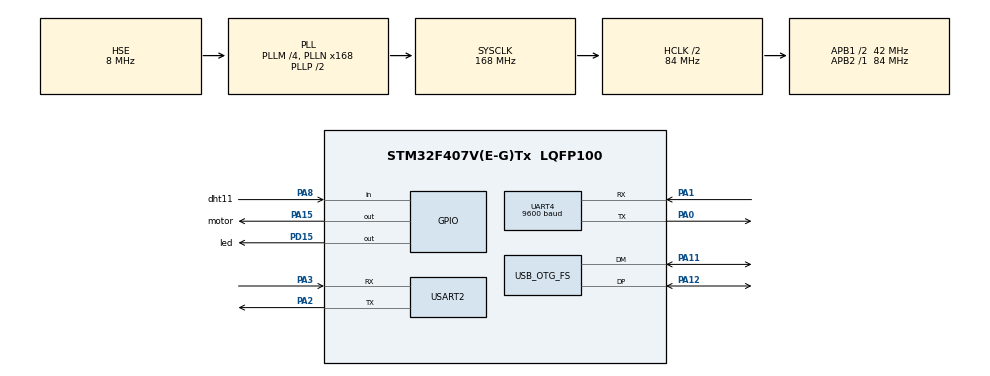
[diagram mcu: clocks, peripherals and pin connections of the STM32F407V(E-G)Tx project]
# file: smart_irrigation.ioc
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Dma.Request0=USART2_RX
Dma.Request1=USART2_TX
Dma.Request2=UART4_RX
Dma.Request3=UART4_TX
Dma.UART4_RX.2.Direction=DMA_PERIPH_TO_MEMORY
Dma.UART4_RX.2.FIFOMode=DMA_FIFOMODE_DISABLE
Dma.UART4_RX.2.Instance=DMA1_Stream2
Dma.UART4_RX.2.MemDataAlignment=DMA_MDATAALIGN_BYTE
Dma.UART4_RX.2.MemInc=DMA_MINC_ENABLE
Dma.UART4_RX.2.Mode=DMA_CIRCULAR
Dma.UART4_RX.2.PeriphDataAlignment=DMA_PDATAALIGN_BYTE
Dma.UART4_RX.2.PeriphInc=DMA_PINC_DISABLE
Dma.UART4_RX.2.Priority=DMA_PRIORITY_LOW
Dma.UART4_TX.3.Direction=DMA_MEMORY_TO_PERIPH
Dma.UART4_TX.3.FIFOMode=DMA_FIFOMODE_DISABLE
Dma.UART4_TX.3.Instance=DMA1_Stream4
Dma.UART4_TX.3.MemDataAlignment=DMA_MDATAALIGN_BYTE
Dma.UART4_TX.3.MemInc=DMA_MINC_ENABLE
Dma.UART4_TX.3.Mode=DMA_NORMAL
Dma.UART4_TX.3.PeriphDataAlignment=DMA_PDATAALIGN_BYTE
Dma.UART4_TX.3.PeriphInc=DMA_PINC_DISABLE
Dma.UART4_TX.3.Priority=DMA_PRIORITY_LOW
Dma.USART2_RX.0.Direction=DMA_PERIPH_TO_MEMORY
Dma.USART2_RX.0.FIFOMode=DMA_FIFOMODE_DISABLE
Dma.USART2_RX.0.Instance=DMA1_Stream5
Dma.USART2_RX.0.MemDataAlignment=DMA_MDATAALIGN_BYTE
Dma.USART2_RX.0.MemInc=DMA_MINC_ENABLE
Dma.USART2_RX.0.Mode=DMA_CIRCULAR
Dma.USART2_RX.0.PeriphDataAlignment=DMA_PDATAALIGN_BYTE
Dma.USART2_RX.0.PeriphInc=DMA_PINC_DISABLE
Dma.USART2_RX.0.Priority=DMA_PRIORITY_LOW
Dma.USART2_TX.1.Direction=DMA_MEMORY_TO_PERIPH
Dma.USART2_TX.1.FIFOMode=DMA_FIFOMODE_DISABLE
Dma.USART2_TX.1.Instance=DMA1_Stream6
Dma.USART2_TX.1.MemDataAlignment=DMA_MDATAALIGN_BYTE
Dma.USART2_TX.1.MemInc=DMA_MINC_ENABLE
Dma.USART2_TX.1.Mode=DMA_NORMAL
Dma.USART2_TX.1.PeriphDataAlignment=DMA_PDATAALIGN_BYTE
Dma.USART2_TX.1.PeriphInc=DMA_PINC_DISABLE
Dma.USART2_TX.1.Priority=DMA_PRIORITY_LOW
Mcu.Family=STM32F4
Mcu.Name=STM32F407V(E-G)Tx
Mcu.Package=LQFP100
NVIC.DMA1_Stream2_IRQn=true\:0\:0\:false\:false\:true\:false\:true\:true
NVIC.DMA1_Stream4_IRQn=true\:0\:0\:false\:false\:true\:false\:true\:true
NVIC.DMA1_Stream5_IRQn=true\:0\:0\:false\:false\:true\:false\:true\:true
NVIC.DMA1_Stream6_IRQn=true\:0\:0\:false\:false\:true\:false\:true\:true
NVIC.OTG_FS_IRQn=true\:0\:0\:false\:false\:true\:false\:true\:true
NVIC.PriorityGroup=NVIC_PRIORITYGROUP_4
PA0-WKUP.Mode=Asynchronous
PA0-WKUP.Signal=UART4_TX
PA1.GPIO_PuPd=GPIO_PULLUP
PA1.Mode=Asynchronous
PA1.Signal=UART4_RX
PA11.Mode=Device_Only
PA11.Signal=USB_OTG_FS_DM
PA12.Mode=Device_Only
PA12.Signal=USB_OTG_FS_DP
PA15.GPIO_Label=motor
PA15.Signal=GPIO_Output
PA2.Mode=Asynchronous
PA2.Signal=USART2_TX
PA3.GPIO_PuPd=GPIO_PULLUP
PA3.Mode=Asynchronous
PA3.Signal=USART2_RX
PA8.GPIO_Label=dht11
PA8.Signal=GPIO_Input
PD15.GPIO_Label=led
PD15.Signal=GPIO_Output
PH0-OSC_IN.Mode=HSE-External-Oscillator
PH0-OSC_IN.Signal=RCC_OSC_IN
PH1-OSC_OUT.Mode=HSE-External-Oscillator
PH1-OSC_OUT.Signal=RCC_OSC_OUT
ProjectManager.HeapSize=0x200
ProjectManager.StackSize=0x400
ProjectManager.TargetToolchain=STM32CubeIDE
RCC.48MHZClocksFreq_Value=48000000
RCC.AHBCLKDivider=RCC_SYSCLK_DIV2
RCC.AHBFreq_Value=84000000
RCC.APB1CLKDivider=RCC_HCLK_DIV2
RCC.APB1Freq_Value=42000000
RCC.APB1TimFreq_Value=84000000
RCC.APB2Freq_Value=84000000
RCC.APB2TimFreq_Value=84000000
RCC.CortexFreq_Value=84000000
RCC.HCLKFreq_Value=84000000
RCC.HSE_VALUE=8000000
RCC.HSI_VALUE=16000000
RCC.LSE_VALUE=32768
RCC.PLLM=4
RCC.PLLN=168
RCC.PLLQ=7
RCC.SYSCLKFreq_VALUE=168000000
RCC.SYSCLKSource=RCC_SYSCLKSOURCE_PLLCLK
RCC.VCOOutputFreq_Value=336000000
TIM6.Prescaler=83
UART4.BaudRate=9600
UART4.VirtualMode=Asynchronous
USART2.VirtualMode=VM_ASYNC
USB_DEVICE.CLASS_NAME_FS=CDC
USB_DEVICE.VirtualMode-CDC_FS=Cdc
USB_DEVICE.VirtualModeFS=Cdc_FS
USB_OTG_FS.VirtualMode=Device_Only
VP_TIM6_VS_ClockSourceINT.Mode=Enable_Timer
VP_USB_DEVICE_VS_USB_DEVICE_CDC_FS.Mode=CDC_FS
board=custom

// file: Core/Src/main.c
/* USER CODE BEGIN Header */
/**
  ******************************************************************************
  * @file           : main.c
  * @brief          : Main program body
  ******************************************************************************
  * @attention
  *
  * Copyright (c) 2025 STMicroelectronics.
  * All rights reserved.
  *
  * This software is licensed under terms that can be found in the LICENSE file
  * in the root directory of this software component.
  * If no LICENSE file comes with this software, it is provided AS-IS.
  *
  ******************************************************************************
  */
/* USER CODE END Header */
#include "main.h"
#include "usb_device.h"

/* USER CODE BEGIN Includes */
#include "dht11.h"
#include "motor.h"
#include "usbd_cdc_if.h"
#include "esp8266.h"
#include "sim800l.h"  // SMS module for temperature alerts
/* USER CODE END Includes */

/* USER CODE BEGIN PD */
/* WiFi Configuration */
#define WIFI_SSID                   "YOUR_WIFI_SSID"
#define WIFI_PASSWORD               "YOUR_WIFI_PASSWORD"

/* MQTT Configuration */
#define MQTT_BROKER_IP              "YOUR_MQTT_BROKER_IP"
#define MQTT_BROKER_PORT            1883
#define MQTT_CLIENT_ID              "STM32_Irrigation_System"

/* MQTT Topics */
#define MQTT_TOPIC_SENSOR_DATA      "irrigation/sensor_data"
#define MQTT_TOPIC_MOTOR_STATUS     "irrigation/motor_status"
#define MQTT_TOPIC_MODE_STATUS      "irrigation/mode_status"
#define MQTT_TOPIC_SYSTEM_STATUS    "irrigation/system_status"
#define MQTT_TOPIC_MODE_CONTROL     "irrigation/mode"
#define MQTT_TOPIC_MOTOR_CONTROL    "irrigation/motor"
#define MQTT_TOPIC_STATUS_REQUEST   "irrigation/status_request"
#define MQTT_TOPIC_SMS_ALERT        "irrigation/sms_alert"

/* System Configuration */
#define TEMPERATURE_THRESHOLD       33.0f
#define HUMIDITY_THRESHOLD_LOW      50.0f  // Turn motor ON when humidity <= 50%
#define HUMIDITY_THRESHOLD_HIGH     80.0f  // Turn motor OFF when humidity >= 80%
#define DATA_PUBLISH_INTERVAL       2000   // 2 seconds in milliseconds

/* SMS Configuration */
#define SMS_PHONE_NUMBER            "+YOUR_PHONE_NUMBER"  // Replace with your phone number
#define SMS_COOLDOWN_TIME           300000  // 5 minutes in milliseconds (prevent spam)

/* USER CODE END PD */

TIM_HandleTypeDef htim6;

UART_HandleTypeDef huart4;
UART_HandleTypeDef huart2;
DMA_HandleTypeDef hdma_uart4_rx;
DMA_HandleTypeDef hdma_uart4_tx;
DMA_HandleTypeDef hdma_usart2_rx;
DMA_HandleTypeDef hdma_usart2_tx;

/* USER CODE BEGIN PV */
// Operation modes
typedef enum {
    MODE_AUTO = 0,
    MODE_MANUAL = 1
} SystemMode_t;

// System state variables
static SystemMode_t system_mode = MODE_AUTO;
static bool motor_manual_state = false;
static bool mqtt_connected = false;
static bool sim800l_initialized = false;

// Timing variables
static uint32_t last_publish_time = 0;
static uint32_t last_sms_time = 0;
static bool publish_data_flag = false;
static bool temperature_alert_sent = false;

// Temperature tracking for reliable alert detection
static float last_valid_temperature = 0.0f;
static uint32_t high_temp_start_time = 0;
static bool high_temp_detected = false;

/* USER CODE END PV */

void SystemClock_Config(void);
static void MX_GPIO_Init(void);
static void MX_DMA_Init(void);
static void MX_TIM6_Init(void);
static void MX_USART2_UART_Init(void);
static void MX_UART4_Init(void);

/* USER CODE BEGIN 0 */
static char status_message[100];
static bool status_update_pending = false;  // Flag for deferred status updates

// Function prototypes
void PublishSensorData(float temperature, float humidity);
void PublishMotorStatus(const char* status);
void PublishModeStatus(const char* mode);
void PublishSystemStatus(float temperature, float humidity, const char* motor_status, const char* mode);
void HandleAutoMode(float temperature, float humidity);
void HandleManualMode(void);
void CheckTemperatureAlert(float temperature);

/* USER CODE END 0 */

int main(void)
{

  /* MCU Configuration--------------------------------------------------------*/

  /* Reset of all peripherals, Initializes the Flash interface and the Systick. */
  HAL_Init();

  /* Configure the system clock */
  SystemClock_Config();

  /* Initialize all configured peripherals */
  MX_GPIO_Init();
  MX_DMA_Init();
  MX_USB_DEVICE_Init();
  MX_TIM6_Init();
  MX_USART2_UART_Init();
  MX_UART4_Init();
  /* USER CODE BEGIN 2 */
  DHT11_Data_t dht11_data;
  DHT11_Init(&htim6, dht11_GPIO_Port, dht11_Pin);
  float temperature = 0.0f;
  float humidity = 0.0f;
  Motor_Init();

  // Initialize SIM800L GSM module with UART4
  if (SIM800L_Init(&huart4) == SIM800L_OK) {
    sim800l_initialized = true;

    // Send initialization SMS
    char init_sms[160];
    snprintf(init_sms, sizeof(init_sms), "Smart Irrigation System Initialized. SIM800L connected. Phone: %s", SMS_PHONE_NUMBER);
    SIM800L_SendSMS(SMS_PHONE_NUMBER, init_sms);

    // Send message via USB CDC
    char init_msg[] = "SIM800L GSM Module Initialized - Temperature alerts enabled\r\n";
    CDC_Transmit_FS((uint8_t*)init_msg, strlen(init_msg));
  } else {
    char error_msg[] = "SIM800L Initialization Failed\r\n";
    CDC_Transmit_FS((uint8_t*)error_msg, strlen(error_msg));
  }

  // Initialize ESP8266 WiFi module with UART2
  if (ESP8266_Init(&huart2) == ESP8266_OK) {
    // Connect to WiFi
    if (ESP8266_ConnectWiFi(WIFI_SSID, WIFI_PASSWORD) == ESP8266_OK) {
        // Connect to MQTT broker
        if (ESP8266_ConnectMQTT(MQTT_BROKER_IP, MQTT_BROKER_PORT, MQTT_CLIENT_ID) == ESP8266_OK) {
          mqtt_connected = true;

          // Subscribe to control topics
          ESP8266_SubscribeMQTT(MQTT_TOPIC_MODE_CONTROL);
          ESP8266_SubscribeMQTT(MQTT_TOPIC_MOTOR_CONTROL);
          ESP8266_SubscribeMQTT(MQTT_TOPIC_STATUS_REQUEST);

          // Publish initial status
          PublishSystemStatus(0.0f, 0.0f, "OFF", "AUTO");

          // Send connection message via USB CDC
          char init_msg[] = "Smart Irrigation System Initialized - Connected to MQTT\r\n";
          CDC_Transmit_FS((uint8_t*)init_msg, strlen(init_msg));
        }
    }
  }

  // Initialize timing
  last_publish_time = HAL_GetTick();
  last_sms_time = 0;  // Allow immediate first SMS alert
  temperature_alert_sent = false;
  high_temp_detected = false;

  /* USER CODE END 2 */

  /* Infinite loop */
  while (1)
  {

    /* USER CODE BEGIN 3 */
    uint32_t current_time = HAL_GetTick();

    // Check if it's time to read sensor and publish data (every 2 seconds)
    if (current_time - last_publish_time >= DATA_PUBLISH_INTERVAL) {
        publish_data_flag = true;
        last_publish_time = current_time;
    }

    // Read DHT11 sensor data and publish every 2 seconds
    if (publish_data_flag) {
        DHT11_Status_t dht_status = DHT11_ReadData(&dht11_data);
        char buffer[150];

        if (dht_status == DHT11_OK) {
            temperature = DHT11_GetTemperature(&dht11_data);
            humidity = DHT11_GetHumidity(&dht11_data);
            last_valid_temperature = temperature;  // Store for alert system

            snprintf(buffer, sizeof(buffer), "Temp: %.1f°C, Hum: %.1f%% | Mode: %s | Motor: %s\r\n",
                     temperature, humidity,
                     (system_mode == MODE_AUTO) ? "AUTO" : "MANUAL",
                     (Motor_GetState() == MOTOR_FORWARD) ? "ON" : "OFF");

            // Publish sensor data to MQTT
            if (mqtt_connected) {
                PublishSensorData(temperature, humidity);
            }
        } else {
            snprintf(buffer, sizeof(buffer), "DHT11 Error: %s | Mode: %s | Motor: %s\r\n",
                     (dht_status == DHT11_ERROR_CHECKSUM) ? "Checksum Error" : "No Response",
                     (system_mode == MODE_AUTO) ? "AUTO" : "MANUAL",
                     (Motor_GetState() == MOTOR_FORWARD) ? "ON" : "OFF");
        }
        CDC_Transmit_FS((uint8_t*)buffer, strlen(buffer));

        publish_data_flag = false;
    }

    // Control logic based on current mode
    if (system_mode == MODE_AUTO) {
        HandleAutoMode(temperature, humidity);
    } else {
        HandleManualMode();
    }

    // Check for temperature alerts (STM32 handles SMS, dashboard shows notifications)
    CheckTemperatureAlert(last_valid_temperature);

    // Process ESP8266 MQTT data
    ESP8266_ProcessDMAData();

    // Process SIM800L data
    if (sim800l_initialized) {
        SIM800L_ProcessDMAData();
    }

    // Handle deferred status updates (avoid sending from interrupt context)
    if (status_update_pending) {
        status_update_pending = false;
        const char* motor_status = (Motor_GetState() == MOTOR_FORWARD) ? "ON" : "OFF";
        const char* mode_status = (system_mode == MODE_AUTO) ? "AUTO" : "MANUAL";
        PublishSystemStatus(temperature, humidity, motor_status, mode_status);
    }
  }
  /* USER CODE END 3 */
}

void SystemClock_Config(void)
{
  RCC_OscInitTypeDef RCC_OscInitStruct = {0};
  RCC_ClkInitTypeDef RCC_ClkInitStruct = {0};

  /** Configure the main internal regulator output voltage
  */
  __HAL_RCC_PWR_CLK_ENABLE();
  __HAL_PWR_VOLTAGESCALING_CONFIG(PWR_REGULATOR_VOLTAGE_SCALE1);

  /** Initializes the RCC Oscillators according to the specified parameters
  * in the RCC_OscInitTypeDef structure.
  */
  RCC_OscInitStruct.OscillatorType = RCC_OSCILLATORTYPE_HSE;
  RCC_OscInitStruct.HSEState = RCC_HSE_ON;
  RCC_OscInitStruct.PLL.PLLState = RCC_PLL_ON;
  RCC_OscInitStruct.PLL.PLLSource = RCC_PLLSOURCE_HSE;
  RCC_OscInitStruct.PLL.PLLM = 4;
  RCC_OscInitStruct.PLL.PLLN = 168;
  RCC_OscInitStruct.PLL.PLLP = RCC_PLLP_DIV2;
  RCC_OscInitStruct.PLL.PLLQ = 7;
  if (HAL_RCC_OscConfig(&RCC_OscInitStruct) != HAL_OK)
  {
    Error_Handler();
  }

  /** Initializes the CPU, AHB and APB buses clocks
  */
  RCC_ClkInitStruct.ClockType = RCC_CLOCKTYPE_HCLK|RCC_CLOCKTYPE_SYSCLK
                              |RCC_CLOCKTYPE_PCLK1|RCC_CLOCKTYPE_PCLK2;
  RCC_ClkInitStruct.SYSCLKSource = RCC_SYSCLKSOURCE_PLLCLK;
  RCC_ClkInitStruct.AHBCLKDivider = RCC_SYSCLK_DIV2;
  RCC_ClkInitStruct.APB1CLKDivider = RCC_HCLK_DIV2;
  RCC_ClkInitStruct.APB2CLKDivider = RCC_HCLK_DIV1;

  if (HAL_RCC_ClockConfig(&RCC_ClkInitStruct, FLASH_LATENCY_2) != HAL_OK)
  {
    Error_Handler();
  }
}

static void MX_TIM6_Init(void)
{

  TIM_MasterConfigTypeDef sMasterConfig = {0};

  htim6.Instance = TIM6;
  htim6.Init.Prescaler = 83;
  htim6.Init.CounterMode = TIM_COUNTERMODE_UP;
  htim6.Init.Period = 65535;
  htim6.Init.AutoReloadPreload = TIM_AUTORELOAD_PRELOAD_DISABLE;
  if (HAL_TIM_Base_Init(&htim6) != HAL_OK)
  {
    Error_Handler();
  }
  sMasterConfig.MasterOutputTrigger = TIM_TRGO_RESET;
  sMasterConfig.MasterSlaveMode = TIM_MASTERSLAVEMODE_DISABLE;
  if (HAL_TIMEx_MasterConfigSynchronization(&htim6, &sMasterConfig) != HAL_OK)
  {
    Error_Handler();
  }

}

static void MX_UART4_Init(void)
{

  huart4.Instance = UART4;
  huart4.Init.BaudRate = 9600;
  huart4.Init.WordLength = UART_WORDLENGTH_8B;
  huart4.Init.StopBits = UART_STOPBITS_1;
  huart4.Init.Parity = UART_PARITY_NONE;
  huart4.Init.Mode = UART_MODE_TX_RX;
  huart4.Init.HwFlowCtl = UART_HWCONTROL_NONE;
  huart4.Init.OverSampling = UART_OVERSAMPLING_16;
  if (HAL_UART_Init(&huart4) != HAL_OK)
  {
    Error_Handler();
  }

}

static void MX_USART2_UART_Init(void)
{

  huart2.Instance = USART2;
  huart2.Init.BaudRate = 115200;
  huart2.Init.WordLength = UART_WORDLENGTH_8B;
  huart2.Init.StopBits = UART_STOPBITS_1;
  huart2.Init.Parity = UART_PARITY_NONE;
  huart2.Init.Mode = UART_MODE_TX_RX;
  huart2.Init.HwFlowCtl = UART_HWCONTROL_NONE;
  huart2.Init.OverSampling = UART_OVERSAMPLING_16;
  if (HAL_UART_Init(&huart2) != HAL_OK)
  {
    Error_Handler();
  }

}

static void MX_DMA_Init(void)
{

  /* DMA controller clock enable */
  __HAL_RCC_DMA1_CLK_ENABLE();

  /* DMA interrupt init */
  /* DMA1_Stream2_IRQn interrupt configuration */
  HAL_NVIC_SetPriority(DMA1_Stream2_IRQn, 0, 0);
  HAL_NVIC_EnableIRQ(DMA1_Stream2_IRQn);
  /* DMA1_Stream4_IRQn interrupt configuration */
  HAL_NVIC_SetPriority(DMA1_Stream4_IRQn, 0, 0);
  HAL_NVIC_EnableIRQ(DMA1_Stream4_IRQn);
  /* DMA1_Stream5_IRQn interrupt configuration */
  HAL_NVIC_SetPriority(DMA1_Stream5_IRQn, 0, 0);
  HAL_NVIC_EnableIRQ(DMA1_Stream5_IRQn);
  /* DMA1_Stream6_IRQn interrupt configuration */
  HAL_NVIC_SetPriority(DMA1_Stream6_IRQn, 0, 0);
  HAL_NVIC_EnableIRQ(DMA1_Stream6_IRQn);

}

static void MX_GPIO_Init(void)
{
  GPIO_InitTypeDef GPIO_InitStruct = {0};

  /* GPIO Ports Clock Enable */
  __HAL_RCC_GPIOH_CLK_ENABLE();
  __HAL_RCC_GPIOA_CLK_ENABLE();
  __HAL_RCC_GPIOD_CLK_ENABLE();

  /*Configure GPIO pin Output Level */
  HAL_GPIO_WritePin(led_GPIO_Port, led_Pin, GPIO_PIN_RESET);

  /*Configure GPIO pin Output Level */
  HAL_GPIO_WritePin(motor_GPIO_Port, motor_Pin, GPIO_PIN_RESET);

  /*Configure GPIO pin : led_Pin */
  GPIO_InitStruct.Pin = led_Pin;
  GPIO_InitStruct.Mode = GPIO_MODE_OUTPUT_PP;
  GPIO_InitStruct.Pull = GPIO_NOPULL;
  GPIO_InitStruct.Speed = GPIO_SPEED_FREQ_LOW;
  HAL_GPIO_Init(led_GPIO_Port, &GPIO_InitStruct);

  /*Configure GPIO pin : dht11_Pin */
  GPIO_InitStruct.Pin = dht11_Pin;
  GPIO_InitStruct.Mode = GPIO_MODE_INPUT;
  GPIO_InitStruct.Pull = GPIO_NOPULL;
  HAL_GPIO_Init(dht11_GPIO_Port, &GPIO_InitStruct);

  /*Configure GPIO pin : motor_Pin */
  GPIO_InitStruct.Pin = motor_Pin;
  GPIO_InitStruct.Mode = GPIO_MODE_OUTPUT_PP;
  GPIO_InitStruct.Pull = GPIO_NOPULL;
  GPIO_InitStruct.Speed = GPIO_SPEED_FREQ_LOW;
  HAL_GPIO_Init(motor_GPIO_Port, &GPIO_InitStruct);

}

/* USER CODE BEGIN 4 */
/**
  * @brief  MQTT message received callback
  * @param  topic: MQTT topic
  * @param  message: MQTT message
  * @retval None
  */
void ESP8266_OnMQTTMessageReceived(const char* topic, const char* message)
{
    if (strcmp(topic, MQTT_TOPIC_MODE_CONTROL) == 0) {
        // Handle mode control: AUTO or MANUAL
        if (strcmp(message, "AUTO") == 0) {
            system_mode = MODE_AUTO;
            PublishModeStatus("AUTO");

            char msg[] = "Mode changed to AUTO\r\n";
            CDC_Transmit_FS((uint8_t*)msg, strlen(msg));

        } else if (strcmp(message, "MANUAL") == 0) {
            system_mode = MODE_MANUAL;
            PublishModeStatus("MANUAL");

            char msg[] = "Mode changed to MANUAL\r\n";
            CDC_Transmit_FS((uint8_t*)msg, strlen(msg));
        }

    } else if (strcmp(topic, MQTT_TOPIC_MOTOR_CONTROL) == 0) {
        // Handle manual motor control (only in manual mode)
        if (system_mode == MODE_MANUAL) {
            if (strcmp(message, "ON") == 0) {
                motor_manual_state = true;
                Motor_SetState(MOTOR_FORWARD);
                PublishMotorStatus("ON");

                char msg[] = "Manual motor ON\r\n";
                CDC_Transmit_FS((uint8_t*)msg, strlen(msg));

            } else if (strcmp(message, "OFF") == 0) {
                motor_manual_state = false;
                Motor_SetState(MOTOR_STOP);
                PublishMotorStatus("OFF");

                char msg[] = "Manual motor OFF\r\n";
                CDC_Transmit_FS((uint8_t*)msg, strlen(msg));
            }
        }

    } else if (strcmp(topic, MQTT_TOPIC_STATUS_REQUEST) == 0) {
        // Handle status request - set flag to publish current status
        status_update_pending = true;
    }
}

/**
  * @brief  Publish sensor data to MQTT
  * @param  temperature: Current temperature
  * @param  humidity: Current humidity
  * @retval None
  */
void PublishSensorData(float temperature, float humidity)
{
    if (!mqtt_connected) return;

    snprintf(status_message, sizeof(status_message),
             "T%.1fH%.1f",
             temperature, humidity);
    ESP8266_PublishMQTT(MQTT_TOPIC_SENSOR_DATA, status_message);
}

/**
  * @brief  Publish motor status to MQTT
  * @param  status: Motor status string ("ON" or "OFF")
  * @retval None
  */
void PublishMotorStatus(const char* status)
{
    if (!mqtt_connected) return;
    ESP8266_PublishMQTT(MQTT_TOPIC_MOTOR_STATUS, status);
}

/**
  * @brief  Publish mode status to MQTT
  * @param  mode: Mode string ("AUTO" or "MANUAL")
  * @retval None
  */
void PublishModeStatus(const char* mode)
{
    if (!mqtt_connected) return;
    ESP8266_PublishMQTT(MQTT_TOPIC_MODE_STATUS, mode);
}

/**
  * @brief  Publish complete system status to MQTT
  * @param  temperature: Current temperature
  * @param  humidity: Current humidity
  * @param  motor_status: Motor status string
  * @param  mode: Mode string
  * @retval None
  */
void PublishSystemStatus(float temperature, float humidity, const char* motor_status, const char* mode)
{
    if (!mqtt_connected) return;

    snprintf(status_message, sizeof(status_message),
             "T%.1fH%.1fM%sD%s",
             temperature, humidity, motor_status, mode);
    ESP8266_PublishMQTT(MQTT_TOPIC_SYSTEM_STATUS, status_message);
}

/**
  * @brief  Handle automatic mode operation
  * @param  temperature: Current temperature
  * @param  humidity: Current humidity
  * @retval None
  */
void HandleAutoMode(float temperature, float humidity)
{
    static uint32_t motor_start_time = 0;
    static uint32_t total_runtime = 0;
    uint32_t current_time = HAL_GetTick();

    Motor_State_t current_motor_state = Motor_GetState();

    // Control motor based on humidity thresholds (irrigation logic)
    if (humidity <= HUMIDITY_THRESHOLD_LOW) {
        // Start motor if it's not already running (soil is dry, needs watering)
        if (current_motor_state != MOTOR_FORWARD) {
            Motor_SetState(MOTOR_FORWARD);
            motor_start_time = current_time;
            PublishMotorStatus("ON");

            char buffer[120];
            snprintf(buffer, sizeof(buffer), "AUTO: Motor ON (humidity: %.1f%% <= %.1f%% - Soil dry, watering)\r\n",
                     humidity, HUMIDITY_THRESHOLD_LOW);
            CDC_Transmit_FS((uint8_t*)buffer, strlen(buffer));
        }
    } else if (humidity >= HUMIDITY_THRESHOLD_HIGH) {
        // Stop motor if it's running (soil is wet enough, stop watering)
        if (current_motor_state != MOTOR_STOP) {
            uint32_t runtime = current_time - motor_start_time;
            total_runtime += runtime;

            Motor_SetState(MOTOR_STOP);
            PublishMotorStatus("OFF");

            char buffer[140];
            snprintf(buffer, sizeof(buffer),
                     "AUTO: Motor OFF (humidity: %.1f%% >= %.1f%% - Soil wet, stop watering) Runtime: %lu ms, Total: %lu ms\r\n",
                     humidity, HUMIDITY_THRESHOLD_HIGH, runtime, total_runtime);
            CDC_Transmit_FS((uint8_t*)buffer, strlen(buffer));
        }
    }
    // If humidity is between thresholds (50% < humidity < 80%), maintain current state
}

/**
  * @brief  Handle manual mode operation
  * @retval None
  */
void HandleManualMode(void)
{
    // In manual mode, motor state is controlled by motor_manual_state variable
    // which is set via MQTT commands
    Motor_State_t desired_state = motor_manual_state ? MOTOR_FORWARD : MOTOR_STOP;
    Motor_State_t current_state = Motor_GetState();

    if (current_state != desired_state) {
        Motor_SetState(desired_state);
        const char* status = (desired_state == MOTOR_FORWARD) ? "ON" : "OFF";
        PublishMotorStatus(status);
    }
}

/**
  * @brief  Check for temperature alert and send SMS if needed
  * @param  temperature: Current temperature
  * @retval None
  */
void CheckTemperatureAlert(float temperature)
{
    uint32_t current_time = HAL_GetTick();

    // Track sustained high temperature (6 seconds)
    if (temperature >= TEMPERATURE_THRESHOLD) {
        if (!high_temp_detected) {
            high_temp_detected = true;
            high_temp_start_time = current_time;

            // Notify dashboard that high temp is detected
            if (mqtt_connected) {
                ESP8266_PublishMQTT(MQTT_TOPIC_SMS_ALERT, "HIGH_TEMP:Temperature above threshold detected");
            }
        }

        // Send SMS if temperature has been high for 6+ seconds
        uint32_t high_temp_duration = current_time - high_temp_start_time;
        if (high_temp_duration >= 6000) { // 6 seconds sustained
            // Check cooldown period
            if (current_time - last_sms_time >= SMS_COOLDOWN_TIME) {
                if (sim800l_initialized) {
                    char sms_message[160];
                    snprintf(sms_message, sizeof(sms_message),
                             "ALERT: Temperature reached %.1f°C for %.1fs! System status: Motor %s, Mode: %s",
                             temperature, high_temp_duration / 1000.0f,
                             (Motor_GetState() == MOTOR_FORWARD) ? "ON" : "OFF",
                             (system_mode == MODE_AUTO) ? "AUTO" : "MANUAL");

                    // Notify dashboard
                    if (mqtt_connected) {
                        ESP8266_PublishMQTT(MQTT_TOPIC_SMS_ALERT, "SENDING:Sending temperature alert SMS");
                    }

                    SIM800L_Status_t sms_status = SIM800L_SendSMS(SMS_PHONE_NUMBER, sms_message);
                    if (sms_status == SIM800L_OK) {
                        temperature_alert_sent = true;
                        last_sms_time = current_time;

                        // Notify dashboard
                        if (mqtt_connected) {
                            ESP8266_PublishMQTT(MQTT_TOPIC_SMS_ALERT, "SENT:Temperature alert SMS sent successfully");
                        }

                        char log_msg[100];
                        snprintf(log_msg, sizeof(log_msg), "Temperature Alert SMS sent (%.1f°C for %.1fs)\r\n",
                                 temperature, high_temp_duration / 1000.0f);
                        CDC_Transmit_FS((uint8_t*)log_msg, strlen(log_msg));
                    } else {
                        // Notify dashboard
                        if (mqtt_connected) {
                            ESP8266_PublishMQTT(MQTT_TOPIC_SMS_ALERT, "FAILED:Failed to send temperature alert SMS");
                        }

                        char error_msg[] = "Failed to send Temperature Alert SMS\r\n";
                        CDC_Transmit_FS((uint8_t*)error_msg, strlen(error_msg));
                    }
                } else {
                    // SIM800L not available
                    if (mqtt_connected) {
                        ESP8266_PublishMQTT(MQTT_TOPIC_SMS_ALERT, "NO_SIM:SIM800L not initialized - cannot send SMS");
                    }
                }
            } else {
                // In cooldown period
                uint32_t remaining_cooldown = (SMS_COOLDOWN_TIME - (current_time - last_sms_time)) / 1000;

                // Send status every 30 seconds
                static uint32_t last_cooldown_update = 0;
                if (current_time - last_cooldown_update >= 30000) {
                    if (mqtt_connected) {
                        char cooldown_status[100];
                        snprintf(cooldown_status, sizeof(cooldown_status),
                                 "COOLDOWN:High temp %.1f°C - Next SMS in %lus",
                                 temperature, remaining_cooldown);
                        ESP8266_PublishMQTT(MQTT_TOPIC_SMS_ALERT, cooldown_status);
                    }
                    last_cooldown_update = current_time;
                }
            }
        }
    } else {
        // Reset high temperature detection if temperature drops
        if (high_temp_detected) {
            high_temp_detected = false;
            high_temp_start_time = 0;

            // Notify dashboard that temperature is normal
            if (mqtt_connected) {
                ESP8266_PublishMQTT(MQTT_TOPIC_SMS_ALERT, "NORMAL:Temperature below threshold");
            }
        }
    }

    // Reset alert flag if temperature drops well below threshold (hysteresis)
    if (temperature < TEMPERATURE_THRESHOLD - 3.0f) { // 3°C hysteresis
        if (temperature_alert_sent) {
            temperature_alert_sent = false;

            // Notify dashboard that alert is cleared
            if (mqtt_connected) {
                ESP8266_PublishMQTT(MQTT_TOPIC_SMS_ALERT, "CLEARED:Temperature alert cleared");
            }
        }
    }
}

/* USER CODE END 4 */

void Error_Handler(void)
{
  __disable_irq();
  while (1)
  {
  }
}
